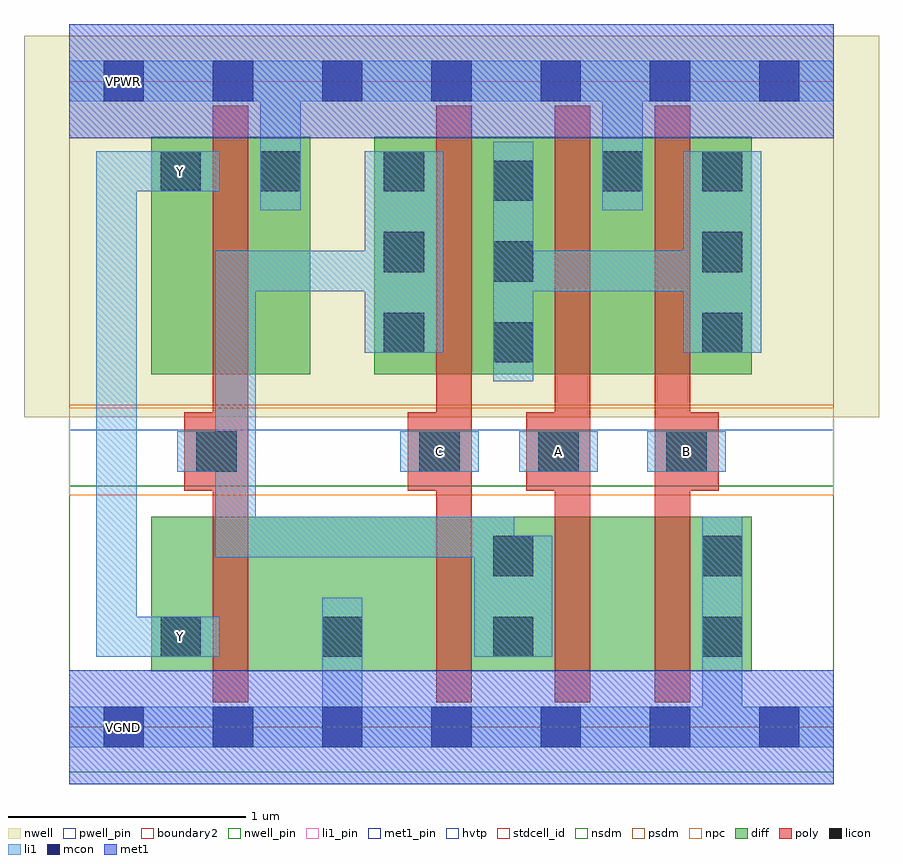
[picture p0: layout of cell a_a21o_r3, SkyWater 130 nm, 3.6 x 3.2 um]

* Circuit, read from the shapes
.subckt a_a21o_r3 A B C VGND VNB VPB VPWR Y
XM1 VGND n1 Y VNB sky130_fd_pr__nfet_01v8 w=0.65 l=0.15
XM2 n1 C VGND VNB sky130_fd_pr__nfet_01v8 w=0.65 l=0.15
XM3 n2 A n1 VNB sky130_fd_pr__nfet_01v8 w=0.65 l=0.15
XM4 VGND B n2 VNB sky130_fd_pr__nfet_01v8 w=0.65 l=0.15
XM5 VPWR n1 Y VPB sky130_fd_pr__pfet_01v8_hvt w=1 l=0.15
XM6 n3 C n1 VPB sky130_fd_pr__pfet_01v8_hvt w=1 l=0.15
XM7 VPWR A n3 VPB sky130_fd_pr__pfet_01v8_hvt w=1 l=0.15
XM8 n3 B VPWR VPB sky130_fd_pr__pfet_01v8_hvt w=1 l=0.15
.ends

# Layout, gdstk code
import gdstk
lib = gdstk.Library(unit=1e-6, precision=1e-09)
def R(c, l, rs):  # rectangles x0, y0, x1, y1
    for r in rs: c.add(gdstk.rectangle(r[:2], r[2:], *l))
def A(c, l, x, y, w, h, nx, ny, dx, dy):  # array of equal rectangles
    R(c, l, [(x+i*dx, y+j*dy, x+i*dx+w, y+j*dy+h) for i in range(nx) for j in range(ny)])
nwell_pin = (64, 16)
nwell = (64, 20)
diff = (65, 20)
poly = (66, 20)
licon = (66, 44)
li1_pin = (67, 16)
li1 = (67, 20)
mcon = (67, 44)
met1_pin = (68, 16)
met1 = (68, 20)
hvtp = (78, 44)
stdcell_id = (81, 4)
nsdm = (93, 44)
psdm = (94, 20)
npc = (95, 20)
pwell_pin = (122, 16)
boundary2 = (236, 0)

a_a21o_r3 = lib.new_cell('a_a21o_r3')
R(a_a21o_r3, nwell_pin, [(0.145,2.635,0.315,2.805)])
R(a_a21o_r3, nwell, [(-0.19,1.305,3.41,2.91)])
R(a_a21o_r3, diff, [(0.345,0.235,1.15,0.885), (1.15,0.235,1.87,0.885), (1.87,0.235,2.33,0.885), (2.33,0.235,2.875,0.885), (0.345,1.485,1.015,2.485), (1.285,1.485,1.87,2.485), (1.87,1.485,2.33,2.485), (2.33,1.485,2.875,2.485)])
R(a_a21o_r3, poly, [(0.605,0.105,0.755,2.615), (1.545,0.105,1.695,2.615), (2.045,0.105,2.195,2.615), (2.465,0.105,2.615,2.615), (0.485,0.995,0.755,1.325), (1.425,0.995,1.695,1.325), (1.925,0.995,2.195,1.325), (2.465,0.995,2.735,1.325)])
A(a_a21o_r3, licon, 1.785, 1.535, 0.17, 0.17, 1, 3, 0, 0.34)
A(a_a21o_r3, licon, 1.325, 1.575, 0.17, 0.17, 1, 3, 0, 0.34)
A(a_a21o_r3, licon, 2.665, 1.575, 0.17, 0.17, 1, 3, 0, 0.34)
R(a_a21o_r3, licon, [(0.385,0.295,0.555,0.465), (1.065,0.295,1.235,0.465), (1.785,0.295,1.955,0.465), (2.665,0.295,2.835,0.465), (1.785,0.635,1.955,0.805), (2.665,0.635,2.835,0.805), (0.535,1.075,0.705,1.245), (1.475,1.075,1.645,1.245), (1.975,1.075,2.145,1.245), (2.515,1.075,2.685,1.245), (0.385,2.255,0.555,2.425), (0.805,2.255,0.975,2.425), (2.245,2.255,2.415,2.425)])
R(a_a21o_r3, li1_pin, [(0.385,0.295,0.555,0.465), (1.475,1.075,1.645,1.245), (1.975,1.075,2.145,1.245), (2.515,1.075,2.685,1.245), (0.385,2.255,0.555,2.425)])
R(a_a21o_r3, li1, [(0,-0.085,3.22,0.085), (1.065,-0.085,1.235,0.545), (2.665,-0.085,2.835,0.545), (0.115,0.295,0.475,0.465), (0.115,0.295,0.285,2.425), (0.285,0.295,0.305,0.465), (0.285,0.295,0.305,0.465), (0.285,0.295,0.305,0.465), (0.285,0.295,0.305,0.465), (0.305,0.295,0.635,0.465), (1.705,0.295,2.035,0.465), (1.705,0.295,1.875,0.885), (1.705,0.295,2.035,0.805), (2.665,0.295,2.835,0.885), (0.615,0.715,0.785,1.245), (0.615,0.715,1.875,0.885), (0.455,1.075,0.785,1.245), (0.615,1.075,0.785,2.005), (1.395,1.075,1.725,1.245), (1.895,1.075,2.225,1.245), (2.435,1.075,2.765,1.245), (1.785,1.455,1.955,2.045), (1.245,1.575,1.575,2.085), (2.585,1.575,2.915,2.085), (1.785,1.795,1.955,2.385), (0.615,1.835,1.415,2.005), (1.245,1.835,1.415,2.425), (1.785,1.835,1.955,2.305), (1.785,1.835,2.755,2.005), (2.585,1.835,2.755,2.425), (1.245,1.915,1.575,2.425), (2.585,1.915,2.915,2.425), (1.785,2.005,1.955,2.135), (1.785,2.005,1.955,2.135), (1.785,2.005,1.955,2.135), (1.785,2.005,1.955,2.135), (1.785,2.005,1.955,2.045), (1.785,2.005,1.955,2.045), (1.785,2.005,1.955,2.045), (1.785,2.005,1.955,2.045), (1.785,2.005,1.955,2.045), (1.785,2.005,1.955,2.045), (1.785,2.005,1.955,2.045), (1.785,2.045,1.955,2.135), (1.785,2.045,1.955,2.135), (1.785,2.045,1.955,2.135), (1.785,2.045,1.955,2.135), (1.785,2.045,1.955,2.135), (1.785,2.045,1.955,2.135), (1.785,2.045,1.955,2.135), (1.785,2.045,1.955,2.135), (1.785,2.135,1.955,2.465), (0.805,2.175,0.975,2.805), (2.245,2.175,2.415,2.805), (0.115,2.255,0.475,2.425), (0.285,2.255,0.305,2.425), (0.285,2.255,0.305,2.425), (0.285,2.255,0.305,2.425), (0.285,2.255,0.305,2.425), (0.305,2.255,0.635,2.425), (1.245,2.255,1.575,2.425), (2.585,2.255,2.915,2.425), (0,2.635,3.22,2.805)])
A(a_a21o_r3, mcon, 0.145, -0.085, 0.17, 0.17, 7, 2, 0.46, 2.72)
R(a_a21o_r3, met1_pin, [(0.145,-0.085,0.315,0.085), (0.145,2.635,0.315,2.805)])
R(a_a21o_r3, met1, [(0,-0.24,3.22,0.24), (0,2.48,3.22,2.96)])
R(a_a21o_r3, hvtp, [(0,1.25,3.22,2.72)])
R(a_a21o_r3, stdcell_id, [(0,0,3.22,2.72)])
R(a_a21o_r3, nsdm, [(0,-0.19,3.22,1.015)])
R(a_a21o_r3, psdm, [(0,1.355,3.22,2.91)])
R(a_a21o_r3, npc, [(0,0.975,3.22,1.345)])
R(a_a21o_r3, pwell_pin, [(0.145,-0.085,0.315,0.085)])
R(a_a21o_r3, boundary2, [(0,0,3.22,2.72)])
a_a21o_r3.add(gdstk.Label('A', (2.06,1.16), layer=67, texttype=5))
a_a21o_r3.add(gdstk.Label('B', (2.6,1.16), layer=67, texttype=5))
a_a21o_r3.add(gdstk.Label('C', (1.56,1.16), layer=67, texttype=5))
a_a21o_r3.add(gdstk.Label('Y', (0.47,0.38), layer=67, texttype=5))
a_a21o_r3.add(gdstk.Label('Y', (0.47,2.34), layer=67, texttype=5))
a_a21o_r3.add(gdstk.Label('VGND', (0.23,0), layer=68, texttype=5))
a_a21o_r3.add(gdstk.Label('VPWR', (0.23,2.72), layer=68, texttype=5))
a_a21o_r3.add(gdstk.Label('VPB', (0.23,2.72), layer=64, texttype=5))
a_a21o_r3.add(gdstk.Label('VNB', (0.23,0), layer=64, texttype=59))

lib.write_gds('a_a21o_r3.gds')
